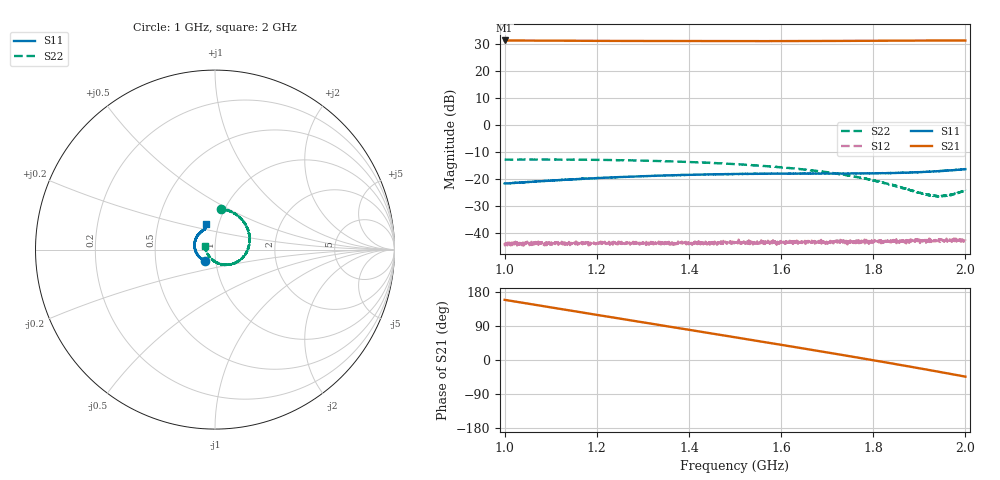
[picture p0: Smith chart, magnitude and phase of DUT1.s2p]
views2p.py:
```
# views2p.py
#
# A script to read a Touchstone file (e.g., .s2p) and plot the
# magnitude of the S-parameters in dB versus frequency.


import skrf as rf
import matplotlib.pyplot as plt

def plot_s_parameters(filepath):
    """
    Reads an S-parameter file and plots the magnitude of all parameters.

    Args:
        filepath (str): The path to the Touchstone file.
    """
    try:
        # Load the Touchstone file using scikit-rf
        # The Network object contains all the S-parameter data
        network = rf.Network(filepath)

        # Create a figure and axes for the plot
        # We'll create a 2x2 grid for a 2-port network (S11, S21, S12, S22)
        fig, axs = plt.subplots(2, 2, figsize=(12, 8))
        fig.suptitle(f'S-Parameters for {network.name}', fontsize=16)

        # Plot S11
        network.plot_s_db(m=0, n=0, ax=axs[0, 0])
        axs[0, 0].set_title('S11 (Return Loss)')
        axs[0, 0].grid(True)

        # Plot S21
        network.plot_s_db(m=1, n=0, ax=axs[0, 1])
        axs[0, 1].set_title('S21 (Insertion Loss)')
        axs[0, 1].grid(True)

        # Plot S12
        network.plot_s_db(m=0, n=1, ax=axs[1, 0])
        axs[1, 0].set_title('S12 (Reverse Isolation)')
        axs[1, 0].grid(True)

        # Plot S22
        network.plot_s_db(m=1, n=1, ax=axs[1, 1])
        axs[1, 1].set_title('S22 (Output Return Loss)')
        axs[1, 1].grid(True)

        # Improve layout and show the plot
        plt.tight_layout(rect=[0, 0, 1, 0.96])
        plt.show()

    except FileNotFoundError:
        print(f"Error: The file '{filepath}' was not found.")
    except Exception as e:
        print(f"An error occurred: {e}")

if __name__ == '__main__':

    touchstone_filepath = 'alphabeta/DUT1.s2p'

    # Create a dummy s2p file for demonstration if it doesn't exist
    try:
        with open(touchstone_filepath, 'x') as f:
            f.write("! Example S2P File\n")
            f.write("# HZ S DB R 50\n")
            f.write("1e9 -10 0 -3 90 -10 0\n")
            f.write("2e9 -8 5 -4 85 -9 2\n")
            f.write("3e9 -6 10 -5 80 -8 4\n")
    except FileExistsError:
        # file already exists, do nothing
        pass

    # Call the function to plot the data
    plot_s_parameters(touchstone_filepath)
```
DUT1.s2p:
!Keysight Technologies,N5245A,US52130011,A.10.65.16
!Date: Wednesday, July 16, 2025 17:03:21
!Correction: S11(Full 2 Port(1,2))
!S21(Full 2 Port(1,2))
!S12(Full 2 Port(1,2))
!S22(Full 2 Port(1,2))
!S2P File: Measurements: S11, S21, S12, S22:
# Hz S  RI  R 50
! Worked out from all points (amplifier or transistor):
!   2001 points, 1 GHz to 2 GHz, reference 50 ohm
!   highest |S21| = 31.5 dB at 1 GHz (marker M1)
!   |S21| within 3 dB of that: start of sweep to end of sweep
!   unconditionally stable (mu >= 1): start of sweep to end of sweep
!   at 1.167 GHz: K = 2.08, MAG = 31.7 dB, |S12| = -43.8 dB
!   at 1.5 GHz: K = 2.19, MAG = 31.5 dB, |S12| = -44.1 dB
!   at 2 GHz: K = 1.89, MAG = 31.6 dB, |S12| = -42.5 dB
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1e9  -0.0551 -0.0613  -34.97 13.56  -0.00457 -0.00448  0.0333 0.2259
1.0685e9  -0.0729 -0.0519  -30.62 21.28  -0.0051 -0.00385  0.0704 0.2183
1.1405e9  -0.0899 -0.0378  -24.28 28.01  -0.00608 -0.00269  0.1076 0.2018
1.2595e9  -0.1095 -0.00577  -11 35.05  -0.00675 -0.000924  0.1595 0.1554
1.376e9  -0.1137 0.0304  3.526 36.33  -0.00621 0.000494  0.1894 0.092
1.5e9  -0.1042 0.0666  18.24 31.55  -0.0056 0.00273  0.188 0.0169
1.6445e9  -0.0814 0.0961  31.3 18.93  -0.00478 0.00469  0.1399 -0.0574
1.768e9  -0.0629 0.1095  36.7 3.873  -0.00318 0.00621  0.0664 -0.0846
1.883e9  -0.054 0.1205  35.4 -11.64  -0.000929 0.00695  -0.0101 -0.0596
1.9395e9  -0.053 0.1292  32.24 -18.96  0.000537 0.0073  -0.04 -0.0265
2e9  -0.0512 0.1429  26.94 -25.94  0.00135 0.00734  -0.0569 0.0223
